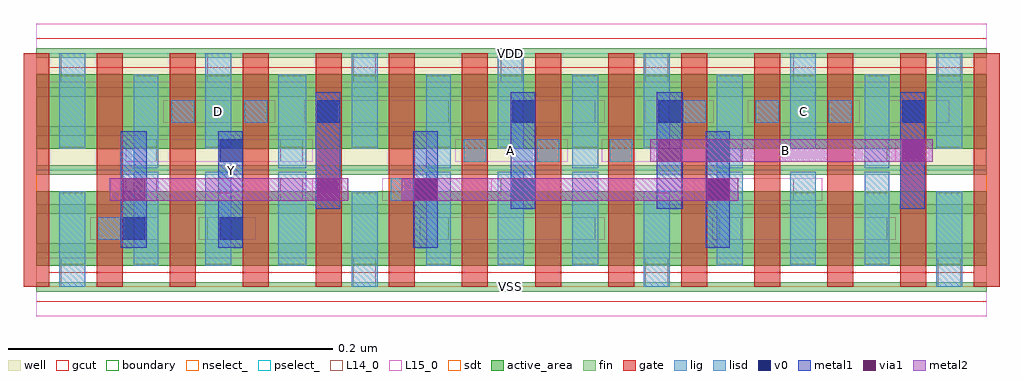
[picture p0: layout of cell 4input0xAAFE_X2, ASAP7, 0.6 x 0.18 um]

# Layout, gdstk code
import gdstk
lib = gdstk.Library(unit=1e-6, precision=1e-09)
def R(c, l, rs):  # rectangles x0, y0, x1, y1
    for r in rs: c.add(gdstk.rectangle(r[:2], r[2:], *l))
def A(c, l, x, y, w, h, nx, ny, dx, dy):  # array of equal rectangles
    R(c, l, [(x+i*dx, y+j*dy, x+i*dx+w, y+j*dy+h) for i in range(nx) for j in range(ny)])
def P(c, l, *ps):  # polygons
    for p in ps: c.add(gdstk.Polygon(p, *l))
well = (1, 0)
fin = (2, 0)
gate = (7, 0)
gcut = (10, 0)
active_area = (11, 0)
nselect_ = (12, 0)
pselect_ = (13, 0)
L14_0 = (14, 0)
L15_0 = (15, 0)
lig = (16, 0)
lisd = (17, 0)
v0 = (18, 0)
metal1 = (19, 0)
metal2 = (20, 0)
via1 = (21, 0)
sdt = (88, 0)
boundary = (100, 0)

c_4input0xaafe_x2 = lib.new_cell('4input0xAAFE_X2')
R(c_4input0xaafe_x2, well, [(0,0.072,0.585,0.144)])
A(c_4input0xaafe_x2, fin, 0, -0.003, 0.585, 0.006, 1, 7, 0, 0.024)
A(c_4input0xaafe_x2, gate, -0.008, 0, 0.016, 0.144, 14, 1, 0.045, 0)
P(c_4input0xaafe_x2, gcut, [(0,-0.009),(0,0),(-0.008,0),(-0.008,0.135),(0.008,0.135),(0.008,0.009),(0.577,0.009),(0.577,0.135),(-0.008,0.135),(-0.008,0.144),(0,0.144),(0,0.153),(0.585,0.153),(0.585,0.144),(0.593,0.144),(0.593,0),(0.585,0),(0.585,-0.009)])
R(c_4input0xaafe_x2, active_area, [(0,0.013,0.585,0.059), (0,0.085,0.585,0.131)])
R(c_4input0xaafe_x2, nselect_, [(0,0,0.585,0.072)])
R(c_4input0xaafe_x2, pselect_, [(0,0.072,0.585,0.144)])
A(c_4input0xaafe_x2, L14_0, 0.195, 0, 0.014, 0.018, 3, 1, 0.18, 0)
A(c_4input0xaafe_x2, L14_0, 0.24, 0.029, 0.014, 0.014, 4, 1, 0.09, 0)
A(c_4input0xaafe_x2, L14_0, 0.263, 0.077, 0.014, 0.014, 3, 1, 0.045, 0)
A(c_4input0xaafe_x2, L14_0, 0.083, 0.101, 0.014, 0.014, 3, 1, 0.045, 0)
A(c_4input0xaafe_x2, L14_0, 0.398, 0.101, 0.014, 0.014, 4, 1, 0.045, 0)
R(c_4input0xaafe_x2, L14_0, [(0.015,0,0.03,0.018), (0.038,0.029,0.052,0.043), (0.105,0.029,0.12,0.043), (0.06,0.053,0.074,0.067), (0.15,0.053,0.164,0.067), (0.218,0.053,0.232,0.067), (0.286,0.053,0.299,0.067), (0.466,0.053,0.48,0.067), (0.06,0.077,0.074,0.091), (0.15,0.077,0.164,0.091), (0.42,0.077,0.434,0.091), (0.51,0.077,0.524,0.091), (0.24,0.101,0.254,0.115), (0.33,0.101,0.344,0.115), (0.015,0.126,0.03,0.144), (0.105,0.126,0.12,0.144), (0.195,0.126,0.209,0.144), (0.286,0.126,0.299,0.144), (0.375,0.126,0.389,0.144), (0.466,0.126,0.48,0.144), (0.555,0.126,0.569,0.144)])
R(c_4input0xaafe_x2, L15_0, [(0,-0.018,0.585,0.018), (0.033,0.029,0.075,0.043), (0.1,0.029,0.135,0.043), (0.236,0.029,0.35,0.043), (0.416,0.029,0.529,0.043), (0.055,0.053,0.17,0.067), (0.213,0.053,0.255,0.067), (0.28,0.053,0.315,0.067), (0.405,0.053,0.484,0.067), (0.055,0.077,0.17,0.091), (0.258,0.077,0.327,0.091), (0.348,0.077,0.529,0.091), (0.078,0.101,0.147,0.115), (0.165,0.101,0.35,0.115), (0.375,0.101,0.417,0.115), (0.438,0.101,0.507,0.115), (0.525,0.101,0.562,0.115), (0,0.126,0.585,0.162)])
A(c_4input0xaafe_x2, lig, 0.263, 0.077, 0.014, 0.014, 3, 1, 0.045, 0)
A(c_4input0xaafe_x2, lig, 0.083, 0.101, 0.014, 0.014, 3, 1, 0.045, 0)
A(c_4input0xaafe_x2, lig, 0.398, 0.101, 0.014, 0.014, 4, 1, 0.045, 0)
R(c_4input0xaafe_x2, lig, [(0.038,0.029,0.052,0.043), (0.218,0.053,0.232,0.067)])
A(c_4input0xaafe_x2, lisd, 0.014, 0, 0.016, 0.059, 4, 1, 0.18, 0)
A(c_4input0xaafe_x2, lisd, 0.014, 0.085, 0.016, 0.059, 7, 1, 0.09, 0)
R(c_4input0xaafe_x2, lisd, [(0.06,0.013,0.075,0.071), (0.104,0.013,0.12,0.071), (0.149,0.013,0.166,0.071), (0.24,0.013,0.255,0.071), (0.284,0.013,0.3,0.071), (0.33,0.013,0.346,0.071), (0.419,0.013,0.435,0.071), (0.464,0.013,0.48,0.071), (0.51,0.013,0.525,0.071), (0.06,0.073,0.075,0.131), (0.149,0.073,0.166,0.131), (0.24,0.073,0.255,0.131), (0.33,0.073,0.346,0.131), (0.419,0.073,0.435,0.131), (0.51,0.073,0.525,0.131)])
R(c_4input0xaafe_x2, v0, [(0.053,0.029,0.067,0.043), (0.113,0.029,0.127,0.043), (0.233,0.053,0.247,0.067), (0.293,0.053,0.307,0.067), (0.413,0.053,0.427,0.067), (0.113,0.077,0.127,0.091), (0.413,0.077,0.427,0.091), (0.173,0.101,0.187,0.115), (0.293,0.101,0.307,0.115), (0.383,0.101,0.397,0.115), (0.533,0.101,0.547,0.115)])
R(c_4input0xaafe_x2, metal1, [(0.052,0.024,0.068,0.096), (0.112,0.024,0.127,0.096), (0.232,0.024,0.247,0.096), (0.412,0.024,0.427,0.096), (0.172,0.048,0.187,0.12), (0.292,0.048,0.307,0.12), (0.382,0.048,0.398,0.12), (0.532,0.048,0.547,0.12)])
R(c_4input0xaafe_x2, metal2, [(0.045,0.053,0.192,0.067), (0.225,0.053,0.432,0.067), (0.378,0.077,0.552,0.091)])
R(c_4input0xaafe_x2, via1, [(0.053,0.053,0.067,0.067), (0.173,0.053,0.187,0.067), (0.233,0.053,0.247,0.067), (0.413,0.053,0.427,0.067), (0.383,0.077,0.397,0.091), (0.533,0.077,0.547,0.091)])
A(c_4input0xaafe_x2, sdt, 0.014, 0.014, 0.016, 0.044, 4, 2, 0.09, 0.072)
A(c_4input0xaafe_x2, sdt, 0.374, 0.014, 0.016, 0.044, 3, 2, 0.045, 0.072)
R(c_4input0xaafe_x2, sdt, [(0.06,0.014,0.075,0.058), (0.149,0.014,0.166,0.058), (0.24,0.014,0.255,0.058), (0.33,0.014,0.346,0.058), (0.51,0.014,0.525,0.058), (0.554,0.014,0.57,0.058), (0.06,0.086,0.075,0.13), (0.149,0.086,0.166,0.13), (0.24,0.086,0.255,0.13), (0.33,0.086,0.346,0.13), (0.51,0.086,0.525,0.13), (0.554,0.086,0.57,0.13)])
R(c_4input0xaafe_x2, boundary, [(0,0,0.585,0.144)])
c_4input0xaafe_x2.add(gdstk.Label('VSS', (0.292,0), layer=15, texttype=251))
c_4input0xaafe_x2.add(gdstk.Label('VDD', (0.292,0.144), layer=15, texttype=251))
c_4input0xaafe_x2.add(gdstk.Label('A', (0.292,0.084), layer=15, texttype=251))
c_4input0xaafe_x2.add(gdstk.Label('VSS', (0.292,0), layer=15, texttype=251))
c_4input0xaafe_x2.add(gdstk.Label('VDD', (0.292,0.144), layer=15, texttype=251))
c_4input0xaafe_x2.add(gdstk.Label('C', (0.472,0.108), layer=15, texttype=251))
c_4input0xaafe_x2.add(gdstk.Label('VSS', (0.292,0), layer=15, texttype=251))
c_4input0xaafe_x2.add(gdstk.Label('VDD', (0.292,0.144), layer=15, texttype=251))
c_4input0xaafe_x2.add(gdstk.Label('D', (0.112,0.108), layer=15, texttype=251))
c_4input0xaafe_x2.add(gdstk.Label('VSS', (0.292,0), layer=15, texttype=251))
c_4input0xaafe_x2.add(gdstk.Label('VDD', (0.292,0.144), layer=15, texttype=251))
c_4input0xaafe_x2.add(gdstk.Label('VSS', (0.292,0), layer=15, texttype=251))
c_4input0xaafe_x2.add(gdstk.Label('VDD', (0.292,0.144), layer=15, texttype=251))
c_4input0xaafe_x2.add(gdstk.Label('B', (0.461,0.084), layer=20, texttype=251))
c_4input0xaafe_x2.add(gdstk.Label('Y', (0.12,0.072), layer=19, texttype=251))
c_4input0xaafe_x2.add(gdstk.Label('VSS', (0.292,0), layer=3, texttype=251))
c_4input0xaafe_x2.add(gdstk.Label('VSS', (0.292,0), layer=3, texttype=251))
c_4input0xaafe_x2.add(gdstk.Label('VSS', (0.292,0), layer=3, texttype=251))
c_4input0xaafe_x2.add(gdstk.Label('VSS', (0.292,0), layer=3, texttype=251))
c_4input0xaafe_x2.add(gdstk.Label('VSS', (0.292,0), layer=3, texttype=251))
c_4input0xaafe_x2.add(gdstk.Label('VDD', (0.292,0.144), layer=1, texttype=251))
c_4input0xaafe_x2.add(gdstk.Label('VDD', (0.292,0.144), layer=1, texttype=251))
c_4input0xaafe_x2.add(gdstk.Label('VDD', (0.292,0.144), layer=1, texttype=251))
c_4input0xaafe_x2.add(gdstk.Label('VDD', (0.292,0.144), layer=1, texttype=251))
c_4input0xaafe_x2.add(gdstk.Label('VDD', (0.292,0.144), layer=1, texttype=251))

lib.write_gds('4input0xAAFE_X2.gds')
